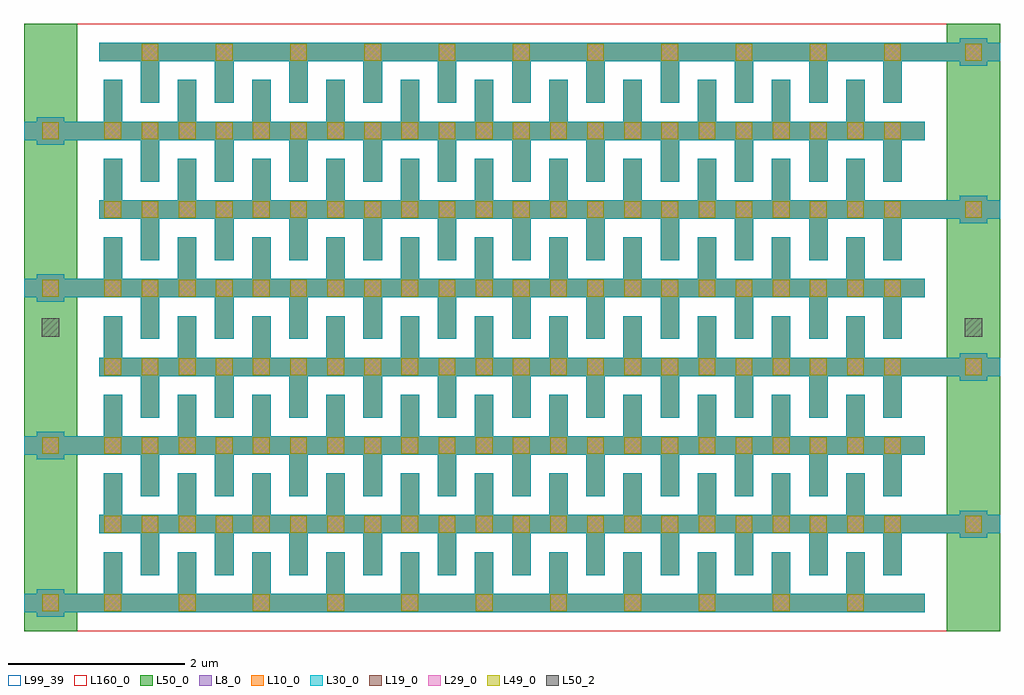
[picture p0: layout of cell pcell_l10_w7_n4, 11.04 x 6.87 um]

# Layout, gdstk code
import gdstk
lib = gdstk.Library(unit=1e-6, precision=1e-09)
def R(c, l, rs):  # rectangles x0, y0, x1, y1
    for r in rs: c.add(gdstk.rectangle(r[:2], r[2:], *l))
def A(c, l, x, y, w, h, nx, ny, dx, dy):  # array of equal rectangles
    R(c, l, [(x+i*dx, y+j*dy, x+i*dx+w, y+j*dy+h) for i in range(nx) for j in range(ny)])
L8_0 = (8, 0)
L10_0 = (10, 0)
L19_0 = (19, 0)
L29_0 = (29, 0)
L30_0 = (30, 0)
L49_0 = (49, 0)
L50_0 = (50, 0)
L50_2 = (50, 2)
L99_39 = (99, 39)
L160_0 = (160, 0)

pcell_l10_w7_n4 = lib.new_cell('pcell_l10_w7_n4')
A(pcell_l10_w7_n4, L8_0, -0.755, -0.155, 0.31, 0.31, 1, 4, 0, 1.78)
A(pcell_l10_w7_n4, L8_0, -0.9, -0.105, 10.19, 0.21, 1, 4, 0, 1.78)
A(pcell_l10_w7_n4, L8_0, 0, 0, 0.21, 0.575, 11, 7, 0.84, 0.89)
A(pcell_l10_w7_n4, L8_0, 0.42, 0.315, 0.21, 0.575, 11, 7, 0.84, 0.89)
A(pcell_l10_w7_n4, L8_0, 9.685, 0.735, 0.31, 0.31, 1, 4, 0, 1.78)
A(pcell_l10_w7_n4, L8_0, -0.05, 0.785, 10.19, 0.21, 1, 4, 0, 1.78)
A(pcell_l10_w7_n4, L10_0, -0.755, -0.155, 0.31, 0.31, 1, 4, 0, 1.78)
A(pcell_l10_w7_n4, L10_0, -0.9, -0.105, 10.19, 0.21, 1, 4, 0, 1.78)
A(pcell_l10_w7_n4, L10_0, 0, 0, 0.21, 0.575, 11, 7, 0.84, 0.89)
A(pcell_l10_w7_n4, L10_0, 0.42, 0.315, 0.21, 0.575, 11, 7, 0.84, 0.89)
A(pcell_l10_w7_n4, L10_0, 9.685, 0.735, 0.31, 0.31, 1, 4, 0, 1.78)
A(pcell_l10_w7_n4, L10_0, -0.05, 0.785, 10.19, 0.21, 1, 4, 0, 1.78)
A(pcell_l10_w7_n4, L19_0, -0.695, -0.095, 0.19, 0.19, 1, 4, 0, 1.78)
A(pcell_l10_w7_n4, L19_0, 0.01, -0.095, 0.19, 0.19, 11, 1, 0.84, 0)
A(pcell_l10_w7_n4, L19_0, 0.01, 0.795, 0.19, 0.19, 22, 6, 0.42, 0.89)
A(pcell_l10_w7_n4, L19_0, 9.745, 0.795, 0.19, 0.19, 1, 4, 0, 1.78)
A(pcell_l10_w7_n4, L19_0, 0.43, 6.135, 0.19, 0.19, 11, 1, 0.84, 0)
A(pcell_l10_w7_n4, L29_0, -0.695, -0.095, 0.19, 0.19, 1, 4, 0, 1.78)
A(pcell_l10_w7_n4, L29_0, 0.01, -0.095, 0.19, 0.19, 11, 1, 0.84, 0)
A(pcell_l10_w7_n4, L29_0, 0.01, 0.795, 0.19, 0.19, 22, 6, 0.42, 0.89)
A(pcell_l10_w7_n4, L29_0, 9.745, 0.795, 0.19, 0.19, 1, 4, 0, 1.78)
A(pcell_l10_w7_n4, L29_0, 0.43, 6.135, 0.19, 0.19, 11, 1, 0.84, 0)
A(pcell_l10_w7_n4, L30_0, -0.755, -0.155, 0.31, 0.31, 1, 4, 0, 1.78)
A(pcell_l10_w7_n4, L30_0, -0.9, -0.105, 10.19, 0.21, 1, 4, 0, 1.78)
A(pcell_l10_w7_n4, L30_0, 0, 0, 0.21, 0.575, 11, 7, 0.84, 0.89)
A(pcell_l10_w7_n4, L30_0, 0.42, 0.315, 0.21, 0.575, 11, 7, 0.84, 0.89)
A(pcell_l10_w7_n4, L30_0, 9.685, 0.735, 0.31, 0.31, 1, 4, 0, 1.78)
A(pcell_l10_w7_n4, L30_0, -0.05, 0.785, 10.19, 0.21, 1, 4, 0, 1.78)
A(pcell_l10_w7_n4, L49_0, -0.695, -0.095, 0.19, 0.19, 1, 4, 0, 1.78)
A(pcell_l10_w7_n4, L49_0, 0.01, -0.095, 0.19, 0.19, 11, 1, 0.84, 0)
A(pcell_l10_w7_n4, L49_0, 0.01, 0.795, 0.19, 0.19, 22, 6, 0.42, 0.89)
A(pcell_l10_w7_n4, L49_0, 9.745, 0.795, 0.19, 0.19, 1, 4, 0, 1.78)
A(pcell_l10_w7_n4, L49_0, 0.43, 6.135, 0.19, 0.19, 11, 1, 0.84, 0)
A(pcell_l10_w7_n4, L50_0, -0.9, -0.105, 10.19, 0.21, 1, 4, 0, 1.78)
A(pcell_l10_w7_n4, L50_0, 0, 0, 0.21, 0.575, 11, 7, 0.84, 0.89)
A(pcell_l10_w7_n4, L50_0, 0.42, 0.315, 0.21, 0.575, 11, 7, 0.84, 0.89)
A(pcell_l10_w7_n4, L50_0, -0.05, 0.785, 10.19, 0.21, 1, 4, 0, 1.78)
R(pcell_l10_w7_n4, L50_0, [(-0.9,-0.32,-0.3,6.55), (9.54,-0.32,10.14,6.55)])
R(pcell_l10_w7_n4, L50_2, [(-0.7,3.01,-0.5,3.22), (9.74,3.01,9.94,3.22)])
R(pcell_l10_w7_n4, L99_39, [(-0.9,-0.32,10.14,6.55)])
R(pcell_l10_w7_n4, L160_0, [(-0.9,-0.32,10.14,6.55)])
pcell_l10_w7_n4.add(gdstk.Label('cap_cmomi C=53.782fF', (-0.9,-0.82), layer=63, texttype=0))

lib.write_gds('pcell_l10_w7_n4.gds')
